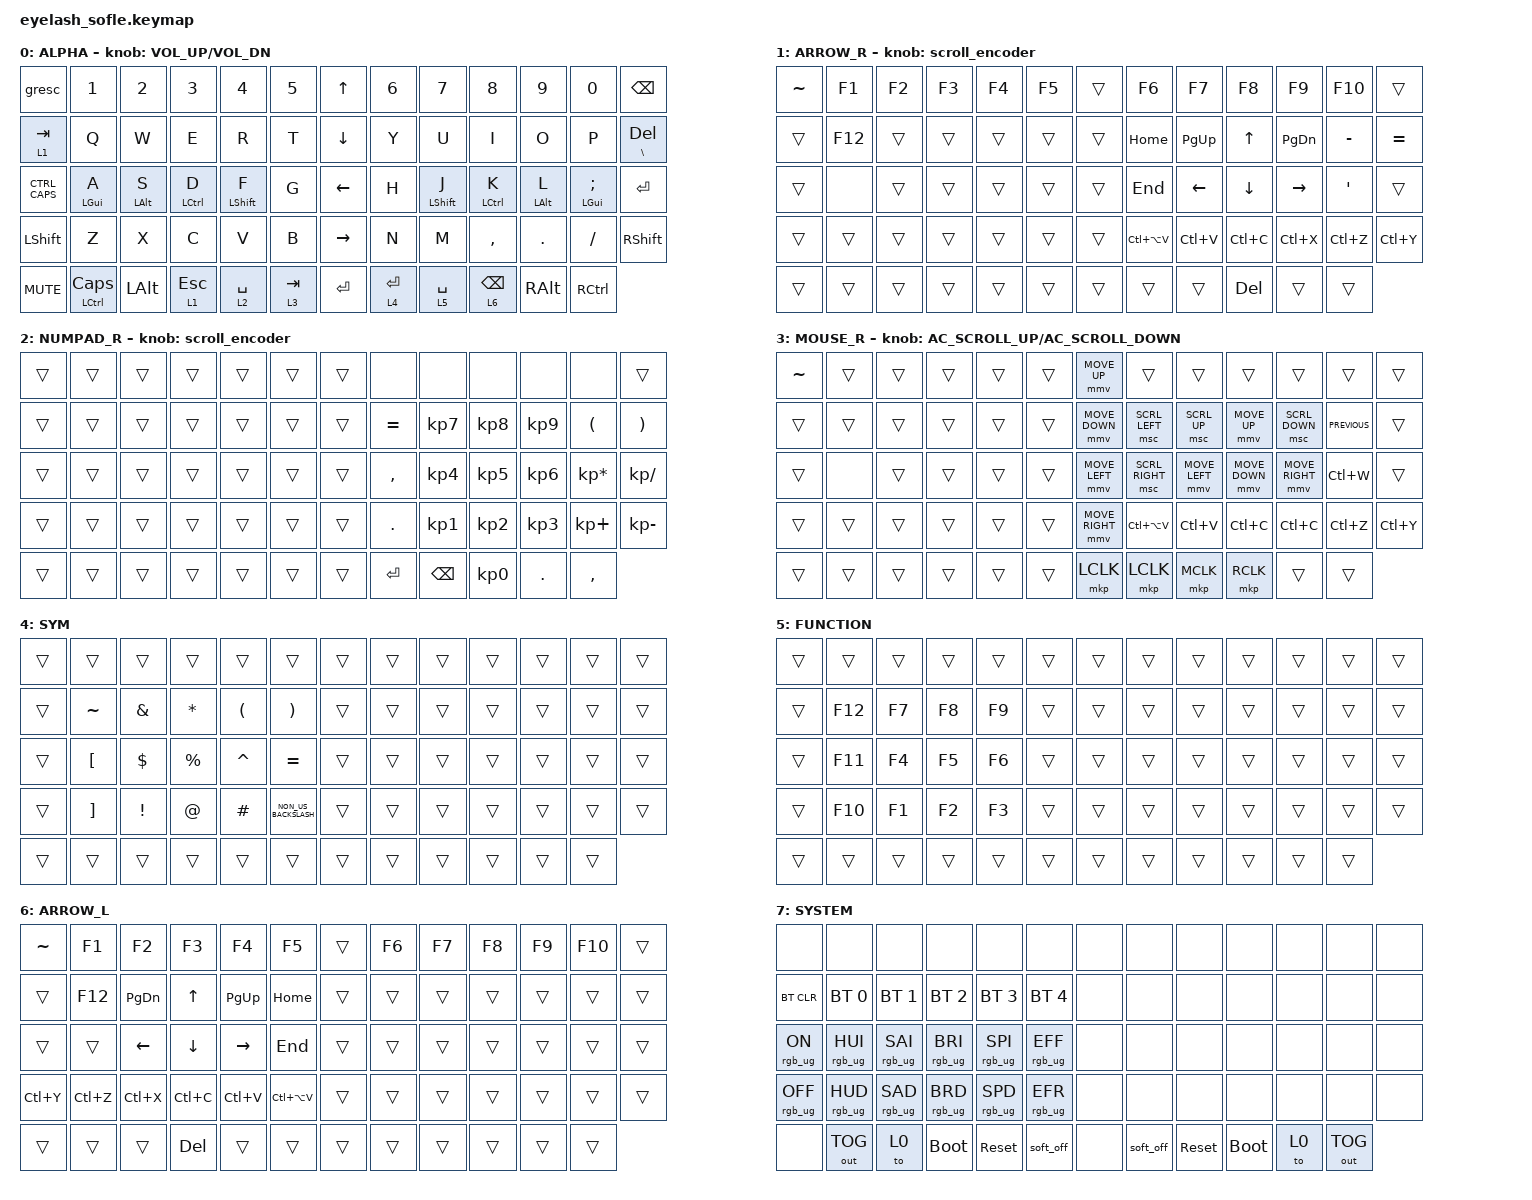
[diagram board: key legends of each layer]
#define ZMK_POINTING_DEFAULT_MOVE_VAL 1200  // 600
#define ZMK_POINTING_DEFAULT_SCRL_VAL 25   // 10

#include <input/processors.dtsi>
#include <zephyr/dt-bindings/input/input-event-codes.h>
#include <behaviors.dtsi>
#include <dt-bindings/zmk/bt.h>
#include <dt-bindings/zmk/keys.h>
#include <dt-bindings/zmk/outputs.h>
#include <dt-bindings/zmk/pointing.h>
#include <dt-bindings/zmk/rgb.h>

&mmv_input_listener { input-processors = <&zip_xy_scaler 2 1>; };

&msc_input_listener { input-processors = <&zip_scroll_scaler 2 1>; };

&msc {
    acceleration-exponent = <1>;      // 0
    time-to-max-speed-ms = <100>;       // 300
    delay-ms = <0>;                   // 0
};

&mmv {
    time-to-max-speed-ms = <500>;
    acceleration-exponent = <1>;
    trigger-period-ms = <16>;
};

/ {
    scroll_encoder: scroll_encoder {
        compatible = "zmk,behavior-sensor-rotate";
        #sensor-binding-cells = <0>;
        bindings = <&msc SCRL_DOWN>, <&msc SCRL_UP>;

        tap-ms = <100>;
    };

    HOME_ROW: HOME_ROW {
        compatible = "zmk,behavior-hold-tap";
        label = "HOME_ROW";
        bindings = <&kp>, <&kp>;

        #binding-cells = <2>;
        flavor = "tap-preferred";
        tapping-term-ms = <200>;
    };

    CTRL_CAPS: CTRL_CAPS {
        compatible = "zmk,behavior-tap-dance";
        label = "CTRL_CAPS";
        #binding-cells = <0>;
        bindings = <&kp LCTRL>, <&kp CAPSLOCK>;
    };

    behaviors {
    };

    combos {
        compatible = "zmk,combos";

        LSYSL {
            bindings = <&tog 7>;
            key-positions = <57 18>;
        };

        RSYSL {
            bindings = <&tog 7>;
            key-positions = <59 20>;
        };

        HANGUL_1 {
            bindings = <&kp RIGHT_ALT>;
            key-positions = <18 31>;
        };

        HANGUL_2 {
            bindings = <&kp RIGHT_ALT>;
            key-positions = <20 33>;
        };

        HANGUL_3 {
            bindings = <&kp RIGHT_ALT>;
            key-positions = <33 46>;
        };

        HANGUL_4 {
            bindings = <&kp RIGHT_ALT>;
            key-positions = <31 44>;
        };
    };

    keymap {
        compatible = "zmk,keymap";

        ALPHA {
            bindings = <
&gresc      &kp N1                &kp N2                &kp N3             &kp N4                  &kp N5       &kp UP_ARROW     &kp N6       &kp N7                  &kp N8             &kp N9                &kp N0                   &kp BACKSPACE
&lt 1 TAB   &kp Q                 &kp W                 &kp E              &kp R                   &kp T        &kp DOWN_ARROW   &kp Y        &kp U                   &kp I              &kp O                 &kp P                    &mt BACKSLASH DELETE
&CTRL_CAPS  &HOME_ROW LEFT_GUI A  &HOME_ROW LEFT_ALT S  &HOME_ROW LCTRL D  &HOME_ROW LEFT_SHIFT F  &kp G        &kp LEFT_ARROW   &kp H        &HOME_ROW LEFT_SHIFT J  &HOME_ROW LCTRL K  &HOME_ROW LEFT_ALT L  &HOME_ROW LEFT_GUI SEMI  &kp ENTER
&kp LSHFT   &kp Z                 &kp X                 &kp C              &kp V                   &kp B        &kp RIGHT_ARROW  &kp N        &kp M                   &kp COMMA          &kp DOT               &kp FSLH                 &kp RSHIFT
&kp C_MUTE  &mt LCTRL CAPSLOCK    &kp LEFT_ALT          &lt 1 ESCAPE       &lt 2 SPACE             &lt 3 TAB    &kp ENTER        &lt 4 ENTER  &lt 5 SPACE             &lt 6 BACKSPACE    &kp RIGHT_ALT         &kp RCTRL
            >;

            sensor-bindings = <&inc_dec_kp C_VOLUME_UP C_VOL_DN>;
            display-name = "ALPHA";
            label = "ALPHA";
        };

        ARROW_R {
            bindings = <
&kp TILDE  &kp F1   &kp F2  &kp F3  &kp F4  &kp F5    &trans  &kp F6         &kp F7       &kp F8      &kp F9         &kp F10         &trans
&trans     &kp F12  &trans  &trans  &trans  &trans    &trans  &kp HOME       &kp PAGE_UP  &kp UP      &kp PAGE_DOWN  &kp MINUS       &kp EQUAL
&trans     &none    &trans  &trans  &trans  &trans    &trans  &kp END        &kp LEFT     &kp DOWN    &kp RIGHT      &kp APOSTROPHE  &trans
&trans     &trans   &trans  &trans  &trans  &trans    &trans  &kp LC(LA(V))  &kp LC(V)    &kp LC(C)   &kp LC(X)      &kp LC(Z)       &kp LC(Y)
&trans     &trans   &trans  &trans  &trans  &trans    &trans  &trans         &trans       &kp DELETE  &trans         &trans
            >;

            display-name = "ARROW_R";
            sensor-bindings = <&scroll_encoder>;
            label = "ARROW_R";
        };

        NUMPAD_R {
            bindings = <
&trans  &trans  &trans  &trans  &trans  &trans    &trans  &none       &none            &none            &none            &none                 &trans
&trans  &trans  &trans  &trans  &trans  &trans    &trans  &kp EQUAL   &kp KP_NUMBER_7  &kp KP_NUMBER_8  &kp KP_NUMBER_9  &kp LEFT_PARENTHESIS  &kp RIGHT_PARENTHESIS
&trans  &trans  &trans  &trans  &trans  &trans    &trans  &kp COMMA   &kp KP_NUMBER_4  &kp KP_NUMBER_5  &kp KP_NUMBER_6  &kp KP_ASTERISK       &kp KP_DIVIDE
&trans  &trans  &trans  &trans  &trans  &trans    &trans  &kp PERIOD  &kp KP_NUMBER_1  &kp KP_NUMBER_2  &kp KP_NUMBER_3  &kp KP_PLUS           &kp KP_MINUS
&trans  &trans  &trans  &trans  &trans  &trans    &trans  &kp ENTER   &kp BACKSPACE    &kp KP_NUMBER_0  &kp PERIOD       &kp COMMA
            >;

            sensor-bindings = <&scroll_encoder>;
            label = "NUMPAD_R";
        };

        MOUSE_R {
            label = "MOUSE_R";
            display-name = "MOUSE_R";
            bindings = <
&kp TILDE  &trans  &trans  &trans  &trans  &trans    &mmv MOVE_UP     &trans           &trans          &trans          &trans           &trans          &trans
&trans     &trans  &trans  &trans  &trans  &trans    &mmv MOVE_DOWN   &msc SCRL_LEFT   &msc SCRL_UP    &mmv MOVE_UP    &msc SCRL_DOWN   &kp C_PREVIOUS  &trans
&trans     &none   &trans  &trans  &trans  &trans    &mmv MOVE_LEFT   &msc SCRL_RIGHT  &mmv MOVE_LEFT  &mmv MOVE_DOWN  &mmv MOVE_RIGHT  &kp LC(W)       &trans
&trans     &trans  &trans  &trans  &trans  &trans    &mmv MOVE_RIGHT  &kp LC(LA(V))    &kp LC(V)       &kp LC(C)       &kp LC(C)        &kp LC(Z)       &kp LC(Y)
&trans     &trans  &trans  &trans  &trans  &trans    &mkp LCLK        &mkp LCLK        &mkp MCLK       &mkp RCLK       &trans           &trans
            >;

            sensor-bindings = <&inc_dec_kp C_AC_SCROLL_UP C_AC_SCROLL_DOWN>;
        };

        SYM {
            bindings = <
&trans  &trans             &trans           &trans        &trans                &trans                   &trans  &trans  &trans  &trans  &trans  &trans  &trans
&trans  &kp TILDE          &kp AMPERSAND    &kp ASTERISK  &kp LEFT_PARENTHESIS  &kp RIGHT_PARENTHESIS    &trans  &trans  &trans  &trans  &trans  &trans  &trans
&trans  &kp LEFT_BRACKET   &kp DOLLAR       &kp PERCENT   &kp CARET             &kp EQUAL                &trans  &trans  &trans  &trans  &trans  &trans  &trans
&trans  &kp RIGHT_BRACKET  &kp EXCLAMATION  &kp AT_SIGN   &kp HASH              &kp NON_US_BACKSLASH     &trans  &trans  &trans  &trans  &trans  &trans  &trans
&trans  &trans             &trans           &trans        &trans                &trans                   &trans  &trans  &trans  &trans  &trans  &trans
            >;

            label = "SYM";
        };

        FUNCTION {
            bindings = <
&trans  &trans   &trans  &trans  &trans  &trans    &trans  &trans  &trans  &trans  &trans  &trans  &trans
&trans  &kp F12  &kp F7  &kp F8  &kp F9  &trans    &trans  &trans  &trans  &trans  &trans  &trans  &trans
&trans  &kp F11  &kp F4  &kp F5  &kp F6  &trans    &trans  &trans  &trans  &trans  &trans  &trans  &trans
&trans  &kp F10  &kp F1  &kp F2  &kp F3  &trans    &trans  &trans  &trans  &trans  &trans  &trans  &trans
&trans  &trans   &trans  &trans  &trans  &trans    &trans  &trans  &trans  &trans  &trans  &trans
            >;

            label = "FUNCTION";
        };

        ARROW_L {
            bindings = <
&kp TILDE  &kp F1     &kp F2         &kp F3        &kp F4       &kp F5           &trans  &kp F6  &kp F7  &kp F8  &kp F9  &kp F10  &trans
&trans     &kp F12    &kp PAGE_DOWN  &kp UP_ARROW  &kp PAGE_UP  &kp HOME         &trans  &trans  &trans  &trans  &trans  &trans   &trans
&trans     &trans     &kp LEFT       &kp DOWN      &kp RIGHT    &kp END          &trans  &trans  &trans  &trans  &trans  &trans   &trans
&kp LC(Y)  &kp LC(Z)  &kp LC(X)      &kp LC(C)     &kp LC(V)    &kp LC(LA(V))    &trans  &trans  &trans  &trans  &trans  &trans   &trans
&trans     &trans     &trans         &kp DELETE    &trans       &trans           &trans  &trans  &trans  &trans  &trans  &trans
            >;

            label = "ARROW_L";
        };

        SYSTEM {
            bindings = <
&none            &none            &none            &none            &none            &none              &none  &none      &none       &none        &none  &none         &none
&bt BT_CLR       &bt BT_SEL 0     &bt BT_SEL 1     &bt BT_SEL 2     &bt BT_SEL 3     &bt BT_SEL 4       &none  &none      &none       &none        &none  &none         &none
&rgb_ug RGB_ON   &rgb_ug RGB_HUI  &rgb_ug RGB_SAI  &rgb_ug RGB_BRI  &rgb_ug RGB_SPI  &rgb_ug RGB_EFF    &none  &none      &none       &none        &none  &none         &none
&rgb_ug RGB_OFF  &rgb_ug RGB_HUD  &rgb_ug RGB_SAD  &rgb_ug RGB_BRD  &rgb_ug RGB_SPD  &rgb_ug RGB_EFR    &none  &none      &none       &none        &none  &none         &none
&none            &out OUT_TOG     &to 0            &bootloader      &sys_reset       &soft_off          &none  &soft_off  &sys_reset  &bootloader  &to 0  &out OUT_TOG
            >;

            label = "SYSTEM";
        };
    };
};
